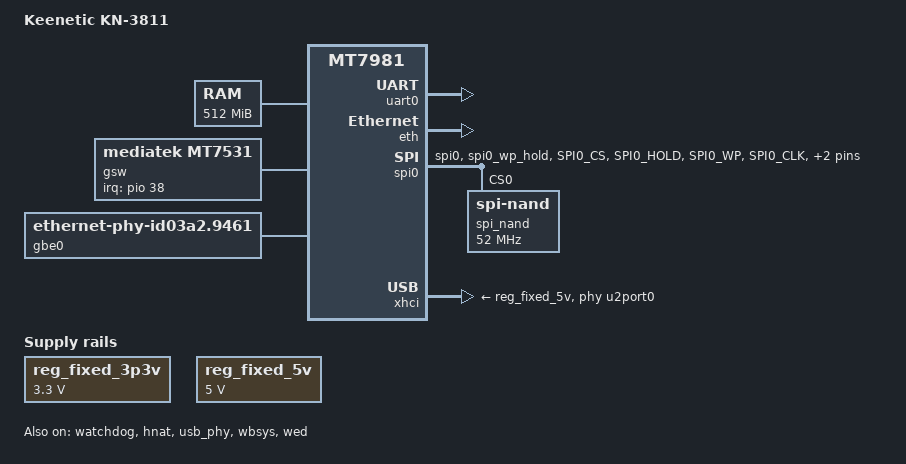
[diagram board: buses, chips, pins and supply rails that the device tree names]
/dts-v1/;
#include <dt-bindings/gpio/gpio.h>
#include <dt-bindings/pinctrl/mt65xx.h>
#include <mediatek/mt7981.dtsi>
/ {
	model = "Keenetic KN-3811";
	compatible = "keenetic,kn-3811", "mediatek,mt7981";

	chosen {
		bootargs = "console=ttyS0,115200n1 loglevel=8 earlycon=uart8250,mmio32,0x11002000";
	};

	memory@40000000 {
		device_type = "memory";
		reg = <0 0x40000000 0 0x20000000>;
	};

	nmbm_spim_nand {
		compatible = "generic,nmbm";
		lower-mtd-device = <&spi_nand>;
		forced-create;
	};

	gsw: gsw-sgmii0 {
		compatible = "mediatek,mt7531";
		#address-cells = <1>;
		#size-cells = <0>;
		mediatek,ethsys = <&ethsys>;
	};

	gbe0: gbe-gmii1 {
		compatible = "ethernet-phy-id03a2.9461";
		#address-cells = <1>;
		#size-cells = <0>;
		reg = <0>;
		nvmem-cells = <&phy_calibration>;
		nvmem-cell-names = "phy-cal-data";
	};

	reg_fixed_3p3v: regulator-3p3v {
		compatible = "regulator-fixed";
		regulator-name = "fixed-3.3V";
		regulator-min-microvolt = <3300000>;
		regulator-max-microvolt = <3300000>;
		regulator-always-on;
	};

	reg_fixed_5v: regulator-5v {
		compatible = "regulator-fixed";
		regulator-name = "fixed-5V";
		regulator-min-microvolt = <5000000>;
		regulator-max-microvolt = <5000000>;
		regulator-always-on;
	};
};

&uart0 {
	status = "okay";
};

&watchdog {
	status = "okay";
};

&gsw {
	interrupt-parent = <&pio>;
	interrupts = <38 IRQ_TYPE_LEVEL_HIGH>;
	status = "okay";
};

&eth {
	mediatek,gsw = <&gsw>;
	mediatek,phy = <&gbe0>;
	status = "okay";
};

&hnat {
	eth-max-gmac = <2>;
	status = "okay";
};

&spi0 {
	pinctrl-names = "default";
	pinctrl-0 = <&spi0_flash_pins>;
	status = "okay";

	spi_nand: spi_nand@0 {
		compatible = "spi-nand";
		reg = <0>;
		spi-max-frequency = <52000000>;
		spi-tx-bus-width = <4>;
		spi-rx-bus-width = <4>;
	};
};

&usb_phy {
	status = "okay";
};

&xhci {
	mediatek,u3p-dis-msk = <0x0>;
	phys = <&u2port0 PHY_TYPE_USB2>,
	       <&u3port0 PHY_TYPE_USB3>;
	vusb33-supply = <&reg_fixed_3p3v>;
	vbus-supply = <&reg_fixed_5v>;
	status = "okay";
};

&wbsys {
	status = "okay";
};

&wed {
	wdma_rx_ring_depth = <1024>;
	wdma_tx_ring_depth = <1024>;
	status = "okay";
};

&wed_pcie {
	status = "disabled";
};

&pio {
	spi0_flash_pins: spi0-pins-16-to-21 {
		mux {
			function = "spi";
			groups = "spi0", "spi0_wp_hold";
		};

		conf-pu {
			pins = "SPI0_CS", "SPI0_HOLD", "SPI0_WP";
			drive-strength = <MTK_DRIVE_8mA>;
			mediatek,pull-up-adv = <3>;	/* pull-up 75k */
		};

		conf-pd {
			pins = "SPI0_CLK", "SPI0_MOSI", "SPI0_MISO";
			drive-strength = <MTK_DRIVE_8mA>;
			mediatek,pull-down-adv = <3>;	/* pull-down 75k */
		};
	};
};
